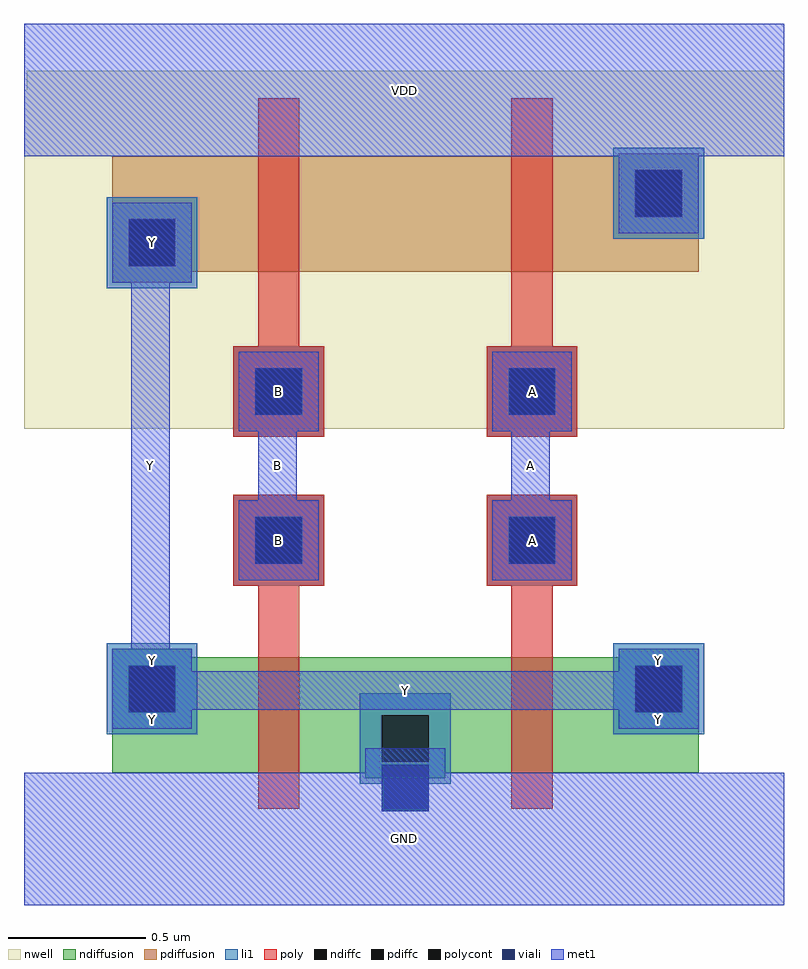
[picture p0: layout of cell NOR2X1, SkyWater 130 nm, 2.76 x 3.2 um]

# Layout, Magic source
magic
# Generated by librecell
tech sky130A
<< nwell >>
rect 0 149 276 272
rect 1 272 276 279
<< viali >>
rect 130 10 147 27
rect 38 46 55 63
rect 222 46 239 63
rect 84 100 101 117
rect 176 100 193 117
rect 84 154 101 171
rect 176 154 193 171
rect 38 208 55 225
rect 222 226 239 243
<< poly >>
rect 85 11 100 92
rect 76 92 109 125
rect 177 11 192 92
rect 168 92 201 125
rect 76 146 109 179
rect 85 179 100 269
rect 168 146 201 179
rect 177 179 192 269
<< properties >>
string FIXED_BBOX 0 0 276 272
<< li1 >>
rect 130 10 147 20
rect 122 20 155 53
rect 30 38 63 71
rect 214 38 247 71
rect 76 92 109 125
rect 168 92 201 125
rect 76 146 109 179
rect 168 146 201 179
rect 30 200 63 233
rect 214 218 247 251
<< met1 >>
rect 0 -24 276 24
rect 124 24 153 33
rect 78 94 107 123
rect 85 123 99 148
rect 78 148 107 177
rect 170 94 199 123
rect 177 123 191 148
rect 170 148 199 177
rect 32 40 61 47
rect 216 40 245 47
rect 32 47 245 61
rect 32 61 61 69
rect 216 61 245 69
rect 39 69 53 202
rect 32 202 61 231
rect 216 220 245 248
rect 0 248 276 296
<< li1 >>
<< met1 >>
<< li1 >>
<< met1 >>
rect 0 -24 276 24
rect 78 94 107 123
rect 85 123 99 148
rect 78 148 107 177
rect 170 94 199 123
rect 177 123 191 148
rect 170 148 199 177
rect 32 40 61 47
rect 216 40 245 47
rect 32 47 245 61
rect 32 61 61 69
rect 216 61 245 69
rect 39 69 53 202
rect 32 202 61 231
rect 0 248 276 296
<< ndiffusion >>
rect 124 22 153 24
rect 32 24 245 66
rect 32 66 61 69
rect 216 66 245 69
<< pdiffusion >>
rect 32 202 61 206
rect 32 206 245 248
rect 216 248 245 249
<< polycont >>
rect 84 100 101 117
rect 176 100 193 117
rect 84 154 101 171
rect 176 154 193 171
<< pdiffc >>
rect 38 208 55 225
rect 222 226 239 243
<< ndiffc >>
rect 130 28 147 45
rect 38 46 55 63
rect 222 46 239 63
<< labels >>
rlabel metal2 0 248 276 296 0 VDD
port 1 se
rlabel metal2 0 -24 276 24 0 GND
port 2 se
rlabel metal2 32 40 61 47 0 Y
port 3 se
rlabel metal2 216 40 245 47 0 Y
port 4 se
rlabel metal2 32 47 245 61 0 Y
port 5 se
rlabel metal2 32 61 61 69 0 Y
port 6 se
rlabel metal2 216 61 245 69 0 Y
port 7 se
rlabel metal2 39 69 53 202 0 Y
port 8 se
rlabel metal2 32 202 61 231 0 Y
port 9 se
rlabel metal2 78 94 107 123 0 B
port 10 se
rlabel metal2 85 123 99 148 0 B
port 11 se
rlabel metal2 78 148 107 177 0 B
port 12 se
rlabel metal2 170 94 199 123 0 A
port 13 se
rlabel metal2 177 123 191 148 0 A
port 14 se
rlabel metal2 170 148 199 177 0 A
port 15 se
<< end >>
